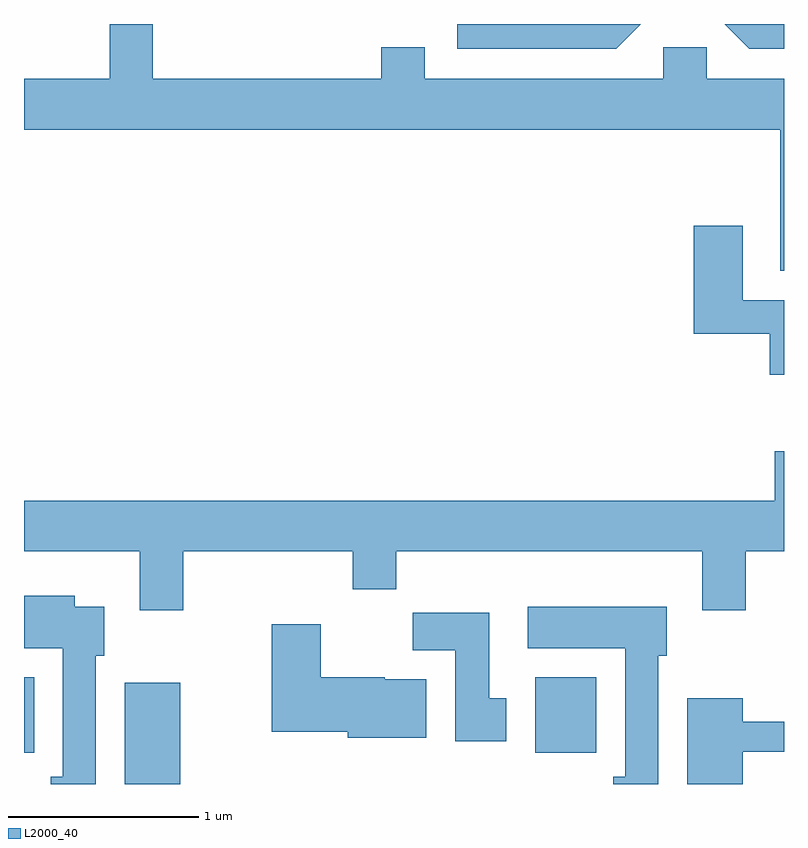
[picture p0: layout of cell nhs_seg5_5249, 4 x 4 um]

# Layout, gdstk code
import gdstk
lib = gdstk.Library(unit=1e-6, precision=1e-09)
def R(c, l, rs):  # rectangles x0, y0, x1, y1
    for r in rs: c.add(gdstk.rectangle(r[:2], r[2:], *l))
def P(c, l, *ps):  # polygons
    for p in ps: c.add(gdstk.Polygon(p, *l))
L2000_40 = (2000, 40)

nhs_seg5_5249 = lib.new_cell('nhs_seg5_5249')
R(nhs_seg5_5249, L2000_40, [(342.141,1400.072,342.434,1400.604), (341.611,1400.236,341.664,1400.634), (344.301,1400.236,344.624,1400.634)])
P(nhs_seg5_5249, L2000_40, [(345.611,1403.784),(345.204,1403.784),(345.204,1403.949),(344.976,1403.949),(344.976,1403.784),(343.719,1403.784),(343.719,1403.949),(343.491,1403.949),(343.491,1403.784),(342.289,1403.784),(342.289,1404.072),(342.061,1404.072),(342.061,1403.784),(341.611,1403.784),(341.611,1403.516),(345.591,1403.516),(345.591,1402.773),(345.611,1402.773)],
  [(344.858,1404.072),(343.891,1404.072),(343.891,1403.941),(344.727,1403.941)],
  [(345.611,1404.072),(345.298,1404.072),(345.429,1403.941),(345.611,1403.941)],
  [(345.611,1402.619),(345.394,1402.619),(345.394,1403.009),(345.136,1403.009),(345.136,1402.441),(345.536,1402.441),(345.536,1402.226),(345.611,1402.226)],
  [(342.449,1401.296),(343.341,1401.296),(343.341,1401.096),(343.569,1401.096),(343.569,1401.296),(345.181,1401.296),(345.181,1400.986),(345.409,1400.986),(345.409,1401.296),(345.611,1401.296),(345.611,1401.824),(345.561,1401.824),(345.561,1401.564),(341.611,1401.564),(341.611,1401.296),(342.221,1401.296),(342.221,1400.986),(342.449,1400.986)],
  [(341.989,1400.746),(342.034,1400.746),(342.034,1401.004),(341.879,1401.004),(341.879,1401.064),(341.611,1401.064),(341.611,1400.786),(341.816,1400.786),(341.816,1400.109),(341.753,1400.109),(341.753,1400.072),(341.989,1400.072)],
  [(344.949,1400.746),(344.994,1400.746),(344.994,1401.004),(344.261,1401.004),(344.261,1400.786),(344.776,1400.786),(344.776,1400.109),(344.713,1400.109),(344.713,1400.072),(344.949,1400.072)],
  [(344.149,1400.524),(344.059,1400.524),(344.059,1400.974),(343.656,1400.974),(343.656,1400.776),(343.881,1400.776),(343.881,1400.296),(344.149,1400.296)],
  [(343.729,1400.624),(343.51,1400.624),(343.51,1400.634),(343.174,1400.634),(343.174,1400.914),(342.916,1400.914),(342.916,1400.346),(343.316,1400.346),(343.316,1400.316),(343.729,1400.316)],
  [(345.394,1400.241),(345.611,1400.241),(345.611,1400.399),(345.394,1400.399),(345.394,1400.524),(345.101,1400.524),(345.101,1400.072),(345.394,1400.072)])

lib.write_gds('nhs_seg5_5249.gds')
